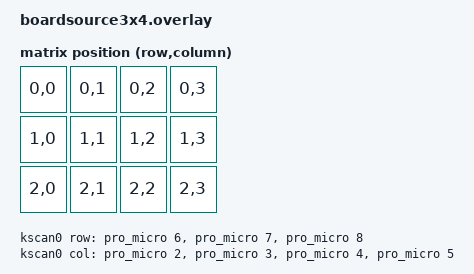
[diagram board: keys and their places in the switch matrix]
#include <dt-bindings/zmk/matrix_transform.h>
#include "boardsource3x4-layouts.dtsi"
/ {
    kscan0: kscan0 {
        compatible = "zmk,kscan-gpio-matrix";
        diode-direction = "col2row";
        wakeup-source;

        col-gpios
            = <&pro_micro 2 GPIO_ACTIVE_HIGH>
            , <&pro_micro 3 GPIO_ACTIVE_HIGH>
            , <&pro_micro 4 GPIO_ACTIVE_HIGH>
            , <&pro_micro 5 GPIO_ACTIVE_HIGH>
            ;

        row-gpios
            = <&pro_micro 6 (GPIO_ACTIVE_HIGH | GPIO_PULL_DOWN)>
            , <&pro_micro 7 (GPIO_ACTIVE_HIGH | GPIO_PULL_DOWN)>
            , <&pro_micro 8 (GPIO_ACTIVE_HIGH | GPIO_PULL_DOWN)>
            ;
    };

    default_transform: keymap_transform0 {
        compatible = "zmk,matrix-transform";
        columns = <4>; // Length of the "col-gpios" array
        rows = <3>; // Length of the "row-gpios" array
        map = <
        //   Key 1 | Key 2 | Key 3 | Key 4
            RC(0,0) RC(0,1) RC(0,2) RC(0,3)
        //   Key 5 | Key 6 | Key 7 | Key 8
            RC(1,0) RC(1,1) RC(1,2) RC(1,3)
        //   Key 9 | Key 10 | Key 11 | Key 12
            RC(2,0) RC(2,1) RC(2,2) RC(2,3)
        >;
    };

    physical_layout0: physical_layout_0 { // First physical layout, use different naming for other layouts
        compatible = "zmk,physical-layout";
        display-name = "Default Layout";
        kscan = <&kscan0>; // Label of the kscan node, optional if all layouts use the same
        transform = <&default_transform>; // Label of the matrix transform for this layout
    };
    
    chosen {
        zmk,kscan = &kscan0;
        zmk,physical-layout = &physical_layout0;
        // Other chosen items
    };
};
